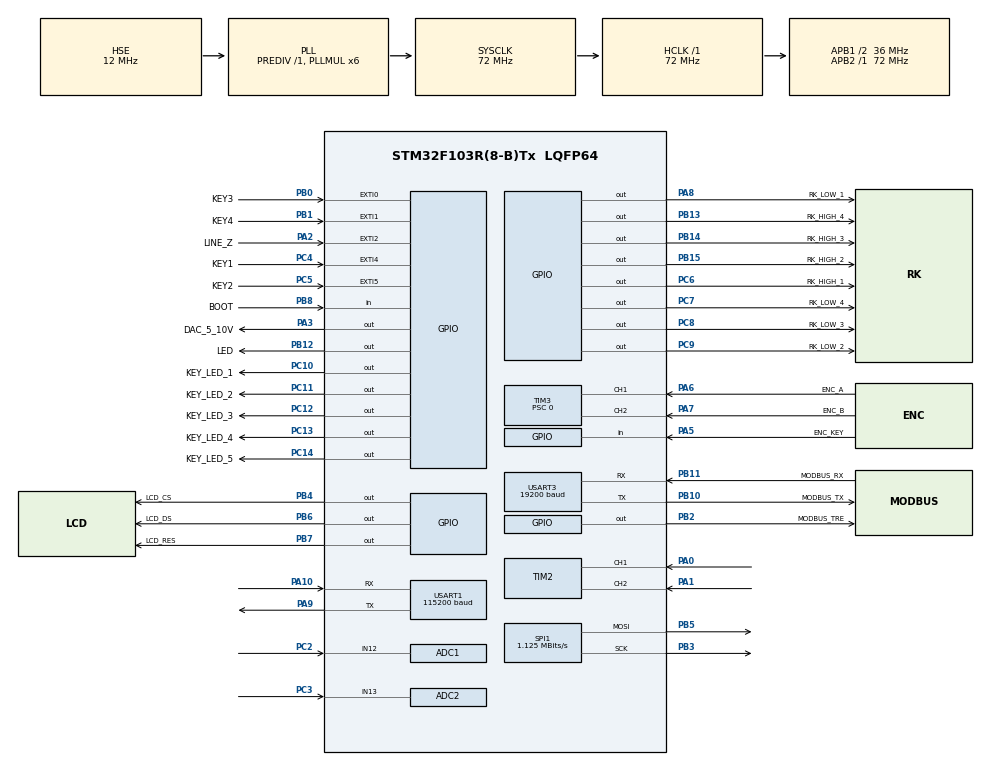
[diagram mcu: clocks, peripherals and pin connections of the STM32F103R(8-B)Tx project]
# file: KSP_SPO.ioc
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ADC1.Channel-2\#ChannelRegularConversion=ADC_CHANNEL_12
ADC1.Channel-IN12=ADC_CHANNEL_12
ADC1.ContinuousConvMode=DISABLE
ADC1.DataAlign=ADC_DATAALIGN_RIGHT
ADC1.DiscontinuousConvMode=DISABLE
ADC1.EnableAnalogWatchDog=false
ADC1.EnableInjectedConversion=DISABLE
ADC1.EnableRegularConversion=ENABLE
ADC1.ExternalTrigConv=ADC_SOFTWARE_START
ADC1.Mode=__NULL
ADC1.NbrOfConversion=1
ADC1.Rank-2\#ChannelRegularConversion=1
ADC1.SamplingTime-2\#ChannelRegularConversion=ADC_SAMPLETIME_1CYCLE_5
ADC1.ScanConvMode=ADC_SCAN_DISABLE
ADC1.master=1
ADC2.Channel-1\#ChannelRegularConversion=ADC_CHANNEL_13
ADC2.Channel-IN13=ADC_CHANNEL_13
ADC2.ContinuousConvMode=DISABLE
ADC2.DataAlign=ADC_DATAALIGN_RIGHT
ADC2.DiscontinuousConvMode=DISABLE
ADC2.EnableAnalogWatchDog=false
ADC2.EnableInjectedConversion=DISABLE
ADC2.EnableRegularConversion=ENABLE
ADC2.ExternalTrigConv=ADC_SOFTWARE_START
ADC2.Mode=__NULL
ADC2.NbrOfConversion=1
ADC2.Rank-1\#ChannelRegularConversion=1
ADC2.SamplingTime-1\#ChannelRegularConversion=ADC_SAMPLETIME_1CYCLE_5
ADC2.ScanConvMode=ADC_SCAN_DISABLE
Dma.Request0=SPI1_TX
Dma.Request1=USART3_TX
Dma.SPI1_TX.0.Direction=DMA_MEMORY_TO_PERIPH
Dma.SPI1_TX.0.Instance=DMA1_Channel3
Dma.SPI1_TX.0.MemDataAlignment=DMA_MDATAALIGN_BYTE
Dma.SPI1_TX.0.MemInc=DMA_MINC_ENABLE
Dma.SPI1_TX.0.Mode=DMA_NORMAL
Dma.SPI1_TX.0.PeriphDataAlignment=DMA_PDATAALIGN_BYTE
Dma.SPI1_TX.0.PeriphInc=DMA_PINC_DISABLE
Dma.SPI1_TX.0.Priority=DMA_PRIORITY_LOW
Dma.USART3_TX.1.Direction=DMA_MEMORY_TO_PERIPH
Dma.USART3_TX.1.Instance=DMA1_Channel2
Dma.USART3_TX.1.MemDataAlignment=DMA_MDATAALIGN_BYTE
Dma.USART3_TX.1.MemInc=DMA_MINC_ENABLE
Dma.USART3_TX.1.Mode=DMA_NORMAL
Dma.USART3_TX.1.PeriphDataAlignment=DMA_PDATAALIGN_BYTE
Dma.USART3_TX.1.PeriphInc=DMA_PINC_DISABLE
Dma.USART3_TX.1.Priority=DMA_PRIORITY_LOW
Mcu.Family=STM32F1
Mcu.Name=STM32F103R(8-B)Tx
Mcu.Package=LQFP64
Mcu.UserConstants=LCD_TIM,TIM8;MOT_TIM,TIM7;KEY_TIM,TIM6
NVIC.ADC1_2_IRQn=true\:2\:0\:true\:false\:true\:true\:true\:true
NVIC.DMA1_Channel2_IRQn=true\:0\:0\:false\:false\:true\:false\:true\:true
NVIC.DMA1_Channel3_IRQn=true\:0\:0\:false\:false\:true\:false\:true\:true
NVIC.EXTI0_IRQn=true\:2\:0\:true\:false\:true\:true\:true\:true
NVIC.EXTI1_IRQn=true\:2\:0\:true\:false\:true\:true\:true\:true
NVIC.EXTI2_IRQn=true\:2\:0\:true\:false\:true\:true\:true\:true
NVIC.EXTI4_IRQn=true\:2\:0\:true\:false\:true\:true\:true\:true
NVIC.EXTI9_5_IRQn=true\:2\:0\:true\:false\:true\:true\:true\:true
NVIC.PriorityGroup=NVIC_PRIORITYGROUP_4
NVIC.SPI1_IRQn=true\:2\:0\:true\:false\:true\:true\:true\:true
NVIC.TIM1_UP_IRQn=true\:0\:0\:false\:false\:true\:true\:true\:true
NVIC.TIM3_IRQn=true\:2\:0\:true\:false\:true\:true\:true\:true
NVIC.TIM4_IRQn=true\:2\:0\:true\:false\:true\:true\:true\:true
NVIC.USART1_IRQn=true\:2\:0\:true\:false\:true\:true\:true\:true
NVIC.USART3_IRQn=true\:2\:0\:true\:false\:true\:true\:true\:true
PA0-WKUP.Signal=S_TIM2_CH1_ETR
PA1.Signal=S_TIM2_CH2
PA10.Mode=Asynchronous
PA10.Signal=USART1_RX
PA13.Mode=Serial_Wire
PA13.Signal=SYS_JTMS-SWDIO
PA14.Mode=Serial_Wire
PA14.Signal=SYS_JTCK-SWCLK
PA2.GPIO_Label=LINE_Z
PA2.Signal=GPXTI2
PA3.GPIO_Label=DAC_5_10V
PA3.Signal=GPIO_Output
PA5.GPIO_Label=ENC_KEY
PA5.Signal=GPIO_Input
PA6.GPIO_Label=ENC_A
PA6.Signal=S_TIM3_CH1
PA7.GPIO_Label=ENC_B
PA7.Signal=S_TIM3_CH2
PA8.GPIO_Label=RK_LOW_1
PA8.Signal=GPIO_Output
PA9.Mode=Asynchronous
PA9.Signal=USART1_TX
PB0.GPIO_Label=KEY3
PB0.GPIO_PuPd=GPIO_PULLUP
PB0.Signal=GPXTI0
PB1.GPIO_Label=KEY4
PB1.GPIO_PuPd=GPIO_PULLUP
PB1.Signal=GPXTI1
PB10.GPIO_Label=MODBUS_TX
PB10.Mode=Asynchronous
PB10.Signal=USART3_TX
PB11.GPIO_Label=MODBUS_RX
PB11.Mode=Asynchronous
PB11.Signal=USART3_RX
PB12.GPIO_Label=LED
PB12.Signal=GPIO_Output
PB13.GPIO_Label=RK_HIGH_4
PB13.Signal=GPIO_Output
PB14.GPIO_Label=RK_HIGH_3
PB14.Signal=GPIO_Output
PB15.GPIO_Label=RK_HIGH_2
PB15.Signal=GPIO_Output
PB2.GPIO_Label=MODBUS_TRE
PB2.Signal=GPIO_Output
PB3.Mode=TX_Only_Simplex_Unidirect_Master
PB3.Signal=SPI1_SCK
PB4.GPIO_Label=LCD_CS
PB4.Signal=GPIO_Output
PB5.Mode=TX_Only_Simplex_Unidirect_Master
PB5.Signal=SPI1_MOSI
PB6.GPIO_Label=LCD_DS
PB6.Signal=GPIO_Output
PB7.GPIO_Label=LCD_RES
PB7.Signal=GPIO_Output
PB8.GPIO_Label=BOOT
PB8.Signal=GPIO_Input
PC10.GPIO_Label=KEY_LED_1
PC10.Signal=GPIO_Output
PC11.GPIO_Label=KEY_LED_2
PC11.Signal=GPIO_Output
PC12.GPIO_Label=KEY_LED_3
PC12.Signal=GPIO_Output
PC13-TAMPER-RTC.GPIO_Label=KEY_LED_4
PC13-TAMPER-RTC.Signal=GPIO_Output
PC14-OSC32_IN.GPIO_Label=KEY_LED_5
PC14-OSC32_IN.Signal=GPIO_Output
PC2.Signal=ADCx_IN12
PC3.Signal=ADCx_IN13
PC4.GPIO_Label=KEY1
PC4.GPIO_PuPd=GPIO_PULLUP
PC4.Signal=GPXTI4
PC5.GPIO_Label=KEY2
PC5.GPIO_PuPd=GPIO_PULLUP
PC5.Signal=GPXTI5
PC6.GPIO_Label=RK_HIGH_1
PC6.Signal=GPIO_Output
PC7.GPIO_Label=RK_LOW_4
PC7.Signal=GPIO_Output
PC8.GPIO_Label=RK_LOW_3
PC8.Signal=GPIO_Output
PC9.GPIO_Label=RK_LOW_2
PC9.Signal=GPIO_Output
PD0-OSC_IN.Mode=HSE-External-Oscillator
PD0-OSC_IN.Signal=RCC_OSC_IN
PD1-OSC_OUT.Mode=HSE-External-Oscillator
PD1-OSC_OUT.Signal=RCC_OSC_OUT
ProjectManager.HeapSize=0x200
ProjectManager.StackSize=0x400
ProjectManager.TargetToolchain=MDK-ARM V5.32
RCC.ADCPresc=RCC_ADCPCLK2_DIV6
RCC.AHBFreq_Value=72000000
RCC.APB1CLKDivider=RCC_HCLK_DIV2
RCC.APB1Freq_Value=36000000
RCC.APB1TimFreq_Value=72000000
RCC.APB2Freq_Value=72000000
RCC.APB2TimFreq_Value=72000000
RCC.FLatency=FLASH_LATENCY_2
RCC.HCLKFreq_Value=72000000
RCC.HSE_VALUE=12000000
RCC.PLLMUL=RCC_PLL_MUL6
RCC.PLLSourceVirtual=RCC_PLLSOURCE_HSE
RCC.SYSCLKFreq_VALUE=72000000
RCC.SYSCLKSource=RCC_SYSCLKSOURCE_PLLCLK
RCC.USBFreq_Value=72000000
SH.ADCx_IN12.0=ADC1_IN12,IN12
SH.ADCx_IN13.0=ADC2_IN13,IN13
SH.S_TIM2_CH1_ETR.0=TIM2_CH1,Encoder_Interface
SH.S_TIM2_CH2.0=TIM2_CH2,Encoder_Interface
SH.S_TIM3_CH1.0=TIM3_CH1,Encoder_Interface
SH.S_TIM3_CH2.0=TIM3_CH2,Encoder_Interface
SPI1.BaudRatePrescaler=SPI_BAUDRATEPRESCALER_64
SPI1.CLKPhase=SPI_PHASE_2EDGE
SPI1.CLKPolarity=SPI_POLARITY_HIGH
SPI1.CRCCalculation=SPI_CRCCALCULATION_DISABLE
SPI1.CalculateBaudRate=1.125 MBits/s
SPI1.DataSize=SPI_DATASIZE_8BIT
SPI1.Direction=SPI_DIRECTION_2LINES
SPI1.FirstBit=SPI_FIRSTBIT_MSB
SPI1.Mode=SPI_MODE_MASTER
SPI1.NSS=SPI_NSS_SOFT
SPI1.TIMode=SPI_TIMODE_DISABLE
SPI1.VirtualType=VM_MASTER
TIM1.Period=4999
TIM1.Prescaler=7200
TIM2.EncoderMode=TIM_ENCODERMODE_TI12
TIM3.AutoReloadPreload=TIM_AUTORELOAD_PRELOAD_DISABLE
TIM3.ClockDivision=TIM_CLOCKDIVISION_DIV1
TIM3.CounterMode=TIM_COUNTERMODE_UP
TIM3.EncoderMode=TIM_ENCODERMODE_TI1
TIM3.IC1Filter=0
TIM3.IC1Polarity=TIM_ICPOLARITY_RISING
TIM3.IC1Prescaler=TIM_ICPSC_DIV1
TIM3.IC1Selection=TIM_ICSELECTION_DIRECTTI
TIM3.IC2Filter=0
TIM3.IC2Polarity=TIM_ICPOLARITY_RISING
TIM3.IC2Prescaler=TIM_ICPSC_DIV1
TIM3.IC2Selection=TIM_ICSELECTION_DIRECTTI
TIM3.Period=65535
TIM3.Prescaler=0
TIM3.TIM_MasterOutputTrigger=TIM_TRGO_RESET
TIM3.TIM_MasterSlaveMode=TIM_MASTERSLAVEMODE_DISABLE
TIM4.AutoReloadPreload=TIM_AUTORELOAD_PRELOAD_DISABLE
TIM4.CounterMode=TIM_COUNTERMODE_UP
TIM4.Period=1000
TIM4.Prescaler=72
TIM4.TIM_MasterOutputTrigger=TIM_TRGO_RESET
USART1.BaudRate=115200
USART1.Mode=MODE_TX_RX
USART1.Parity=PARITY_NONE
USART1.StopBits=STOPBITS_1
USART1.VirtualMode=VM_ASYNC
USART1.WordLength=WORDLENGTH_8B
USART3.BaudRate=19200
USART3.Mode=MODE_TX_RX
USART3.Parity=PARITY_EVEN
USART3.StopBits=STOPBITS_1
USART3.VirtualMode=VM_ASYNC
USART3.WordLength=WORDLENGTH_9B
VP_TIM1_VS_ClockSourceINT.Mode=Internal
VP_TIM4_VS_ClockSourceINT.Mode=Internal
board=custom

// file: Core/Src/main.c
/* USER CODE BEGIN Header */
/**
  ******************************************************************************
  * @file           : main.c
  * @brief          : Main program body
  ******************************************************************************
  * @attention
  *
  * Copyright (c) 2023 STMicroelectronics.
  * All rights reserved.
  *
  * This software is licensed under terms that can be found in the LICENSE file
  * in the root directory of this software component.
  * If no LICENSE file comes with this software, it is provided AS-IS.
  *
  ******************************************************************************
  */
/* USER CODE END Header */
#include "main.h"
#include "adc.h"
#include "dma.h"
#include "spi.h"
#include "tim.h"
#include "usart.h"
#include "gpio.h"

/* USER CODE BEGIN PV */
uint8_t tx_buf[256*64/2];

uint32_t cntLine = 0;

bool isOrigin = false;

bool rpmChange = true;
bool absChange = false;
bool incChange = false;

bool rpmEdit = false;
bool absEdit = false;
bool incEdit = false;
/* USER CODE END PV */

void SystemClock_Config(void);

int main(void)
{

  /* MCU Configuration--------------------------------------------------------*/

  /* Reset of all peripherals, Initializes the Flash interface and the Systick. */
  HAL_Init();

  /* Configure the system clock */
  SystemClock_Config();

  /* Initialize all configured peripherals */
  MX_GPIO_Init();
  MX_DMA_Init();
  MX_ADC1_Init();
  MX_ADC2_Init();
  MX_SPI1_Init();
  MX_TIM2_Init();
  MX_TIM3_Init();
  MX_USART1_UART_Init();
  MX_USART3_UART_Init();
  MX_TIM4_Init();
  MX_TIM1_Init();
  /* USER CODE BEGIN 2 */
	//LL_GPIO_TogglePin(SW2_GPIO_Port,SW2_Pin);
    LL_GPIO_SetOutputPin(DAC_5_10V_GPIO_Port, DAC_5_10V_Pin);
    EC_Init();
    MOT_Init();
    SSD1322_API_init();
    LL_TIM_EnableIT_UPDATE(TIM4);
    LL_TIM_EnableCounter(TIM4);
    LL_TIM_EnableCounter(TIM2);
    LL_TIM_EnableCounter(TIM3);
	LL_TIM_EnableIT_UPDATE(TIM1);
	LL_TIM_EnableCounter(TIM1);

    InitGui();
  /* USER CODE END 2 */

  /* Infinite loop */
  /* USER CODE BEGIN WHILE */
   //FP_GetParam();
   //fp->params.cnt++;
   //fp->needToSave = true;
   //FP_SaveParam();

	LL_SYSTICK_EnableIT();
	uint8_t br = 0;

    ModeParam_Init();
    mmodbus_init(500);

    static uint32_t lastTick = 0;

  while (1)
  {
	EC_UpdateEncCnt();

    if(currentTool == DRILL_TOOL) {
        LL_GPIO_SetOutputPin(ledActiveDrillMode.port, ledActiveDrillMode.pin);
        LL_GPIO_ResetOutputPin(ledActiveTapMode.port, ledActiveTapMode.pin);
    }
    if(currentTool == TAP_TOOL) {
        LL_GPIO_SetOutputPin(ledActiveTapMode.port, ledActiveTapMode.pin);
        LL_GPIO_ResetOutputPin(ledActiveDrillMode.port, ledActiveDrillMode.pin);
    }
    if(motor.status == RUNNING) {
        LL_GPIO_SetOutputPin(ledKeySpindleStart.port, ledKeySpindleStart.pin);
    }
    if(motor.status == STOPPED){
        LL_GPIO_SetOutputPin(ledKeySpindleStop.port, ledKeySpindleStop.pin);
    }
    if(isOrigin){
        LL_GPIO_SetOutputPin(ledKeyAbsoluteOriginSet.port, ledKeyAbsoluteOriginSet.pin);
    }

    if(keyToolChange.backPulse)
    {
        if(motor.status == STOPPED) {
            currentTool = !currentTool;
            currentMode = SET_SPINDLE_RPM;
            rpmChange = true;
            absChange = false;
            incChange = false;
            rpmEdit = false;
            absEdit = false;
            incEdit = false;
        }

        keyToolChange.backPulse = false;
    }
    if(encKey.backPulse)
    {
        if(currentMode != SET_ABSOLUTE_ORIGIN){
            if(currentMode == SET_SPINDLE_RPM){
                rpmChange = false;
                rpmEdit = false;
                absChange = true;
            }
            if(currentMode == SET_INCREMENTAL_ORIGIN){
                rpmChange = false;
                absChange = false;
                incChange = false;
                rpmEdit = false;
                absEdit = false;
                incEdit = false;
            }

            currentMode++;
            if(currentMode > SET_INCREMENTAL_ORIGIN) currentMode = SET_SPINDLE_RPM;;
        }

        FP_GetParam();
        fp->params.fp_drillSpeed = modeParam.drillSpeed;
        fp->params.fp_tapSpeed = modeParam.tapSpeed;
        fp->needToSave = true;
        FP_SaveParam();

        encKey.backPulse = false;
    }
    if(keyAbsoluteOriginSet.backPulse)
    {
        if(currentMode == SET_ABSOLUTE_ORIGIN){
            incChange = true;
            absChange = false;
            currentMode = SET_INCREMENTAL_ORIGIN;
            isOrigin = !isOrigin;
            if(currentTool == DRILL_TOOL) {
                modeParam.drillCnt = 0;
            }
            if(currentTool == TAP_TOOL) {
                modeParam.tapCnt = 0;
            }
            LL_TIM_SetCounter(TIM2, 0);
        }
        keyAbsoluteOriginSet.backPulse = false;
    }
    if(encCnt.cntDelta > 0 )
    {
        if(currentMode == SET_SPINDLE_RPM){
            if(currentTool == DRILL_TOOL){
                rpmEdit = true;
                if(modeParam.drillSpeed < 2000)
                    modeParam.drillSpeed += 100;
                if(modeParam.drillSpeed > 2000)
                    modeParam.drillSpeed = 2000;
            }
            else {
                rpmEdit = true;
                if(modeParam.tapSpeed < 200)
                    modeParam.tapSpeed += 10;
                if(modeParam.tapSpeed > 200)
                    modeParam.tapSpeed = 200;
            }
            EC_ResetEncCnt();
            rpmEdit = false;
        }
        if(currentMode == SET_INCREMENTAL_ORIGIN){
            if(currentTool == DRILL_TOOL) {
                incEdit = true;
                if(modeParam.drillInc < 25000)
                    modeParam.drillInc += 25;
                if(modeParam.drillInc > 25000)
                    modeParam.drillInc = 25000;
            }
            else {
                incEdit = true;
                if(modeParam.tapInc < 25000)
                    modeParam.tapInc += 25;
                if(modeParam.tapInc > 25000)
                    modeParam.tapInc = 25000;
            }
            EC_ResetEncCnt();
            incEdit = false;
        }
    }
    if(encCnt.cntDelta < 0)
    {
        if(currentMode == SET_SPINDLE_RPM){
            if(currentTool == DRILL_TOOL) {
                rpmEdit = true;
                if(modeParam.drillSpeed > 0)
                    modeParam.drillSpeed -= 100;
                if(modeParam.drillSpeed < 0)
                    modeParam.drillSpeed = 0;
            }
            else {
                rpmEdit = true;
                if(modeParam.tapSpeed > 0)
                    modeParam.tapSpeed -= 10;
                if(modeParam.tapSpeed < 0)
                    modeParam.tapSpeed = 0;
            }
            EC_ResetEncCnt();
            rpmEdit = false;
        }
        if(currentMode == SET_INCREMENTAL_ORIGIN){
            if(currentTool == DRILL_TOOL) {
                incEdit = true;
                if(modeParam.drillInc > 0)
                    modeParam.drillInc -= 25;
                if(modeParam.drillInc < 0)
                    modeParam.drillInc = 0;
            }
            else {
                incEdit = true;
                if(modeParam.tapInc > 0)
                    modeParam.tapInc -= 25;
                if(modeParam.tapInc < 0)
                    modeParam.tapInc = 0;
            }
            EC_ResetEncCnt();
            incEdit = false;
        }
    }
    //MOT_SetSpeed(modeParam.drillSpeed);

    int32_t speed = (currentTool == DRILL_TOOL)? modeParam.drillSpeed : modeParam.tapSpeed;
    MOT_SetSpeed(speed);
    DrawDrillWidget(currentTool, tx_buf, 2000, speed, rpmEdit);

    int32_t inc = (currentTool == DRILL_TOOL)? modeParam.drillInc : modeParam.tapInc;
    position.incrementalPositionInFloat = inc*0.00390625;
    DrawAbsIncWidget(tx_buf, position.realPositionInFloat, position.incrementalPositionInFloat , absEdit, incEdit, currentMode);

    uint8_t holeCnt = (currentTool == DRILL_TOOL)? modeParam.drillCnt : modeParam.tapCnt;
    DrawCntWidget(tx_buf, holeCnt);

    if (uwTick != lastTick && uwTick % 2 == 0) {
        send_buffer_to_OLED(tx_buf, 0, 0);
        lastTick = uwTick;
    }

    /* USER CODE END WHILE */

  }
}

void SystemClock_Config(void)
{
  RCC_OscInitTypeDef RCC_OscInitStruct = {0};
  RCC_ClkInitTypeDef RCC_ClkInitStruct = {0};
  RCC_PeriphCLKInitTypeDef PeriphClkInit = {0};

  /** Initializes the RCC Oscillators according to the specified parameters
  * in the RCC_OscInitTypeDef structure.
  */
  RCC_OscInitStruct.OscillatorType = RCC_OSCILLATORTYPE_HSE;
  RCC_OscInitStruct.HSEState = RCC_HSE_ON;
  RCC_OscInitStruct.HSEPredivValue = RCC_HSE_PREDIV_DIV1;
  RCC_OscInitStruct.HSIState = RCC_HSI_ON;
  RCC_OscInitStruct.PLL.PLLState = RCC_PLL_ON;
  RCC_OscInitStruct.PLL.PLLSource = RCC_PLLSOURCE_HSE;
  RCC_OscInitStruct.PLL.PLLMUL = RCC_PLL_MUL6;
  if (HAL_RCC_OscConfig(&RCC_OscInitStruct) != HAL_OK)
  {
    Error_Handler();
  }

  /** Initializes the CPU, AHB and APB buses clocks
  */
  RCC_ClkInitStruct.ClockType = RCC_CLOCKTYPE_HCLK|RCC_CLOCKTYPE_SYSCLK
                              |RCC_CLOCKTYPE_PCLK1|RCC_CLOCKTYPE_PCLK2;
  RCC_ClkInitStruct.SYSCLKSource = RCC_SYSCLKSOURCE_PLLCLK;
  RCC_ClkInitStruct.AHBCLKDivider = RCC_SYSCLK_DIV1;
  RCC_ClkInitStruct.APB1CLKDivider = RCC_HCLK_DIV2;
  RCC_ClkInitStruct.APB2CLKDivider = RCC_HCLK_DIV1;

  if (HAL_RCC_ClockConfig(&RCC_ClkInitStruct, FLASH_LATENCY_2) != HAL_OK)
  {
    Error_Handler();
  }
  PeriphClkInit.PeriphClockSelection = RCC_PERIPHCLK_ADC;
  PeriphClkInit.AdcClockSelection = RCC_ADCPCLK2_DIV6;
  if (HAL_RCCEx_PeriphCLKConfig(&PeriphClkInit) != HAL_OK)
  {
    Error_Handler();
  }
}

/* USER CODE BEGIN 4 */
void InitGui(){
    draw_bitmap_8bpp(tx_buf, &KSP_LOGO, 64, 6, 128, 49);
    send_buffer_to_OLED(tx_buf, 0, 0);
    draw_rect_filled(tx_buf, 0, 0, 256, 64, 0);
    for(int i = 0; i < 2; ++i) {
        LL_GPIO_SetOutputPin(ledKeySpindleStart.port, ledKeySpindleStart.pin);
        LL_GPIO_SetOutputPin(ledActiveDrillMode.port, ledActiveDrillMode.pin);
        LL_GPIO_SetOutputPin(ledActiveTapMode.port, ledActiveTapMode.pin);
        LL_GPIO_SetOutputPin(ledKeySpindleStop.port, ledKeySpindleStop.pin);
        LL_GPIO_SetOutputPin(ledKeyAbsoluteOriginSet.port, ledKeyAbsoluteOriginSet.pin);
        LL_mDelay(1000);
        LL_GPIO_ResetOutputPin(ledKeySpindleStart.port, ledKeySpindleStart.pin);
        LL_GPIO_ResetOutputPin(ledActiveDrillMode.port, ledActiveDrillMode.pin);
        LL_GPIO_ResetOutputPin(ledActiveTapMode.port, ledActiveTapMode.pin);
        LL_GPIO_ResetOutputPin(ledKeySpindleStop.port, ledKeySpindleStop.pin);
        LL_GPIO_ResetOutputPin(ledKeyAbsoluteOriginSet.port, ledKeyAbsoluteOriginSet.pin);
        LL_mDelay(1000);
    }
}
/* USER CODE END 4 */

void Error_Handler(void)
{
  __disable_irq();
  while (1)
  {
  }
}
